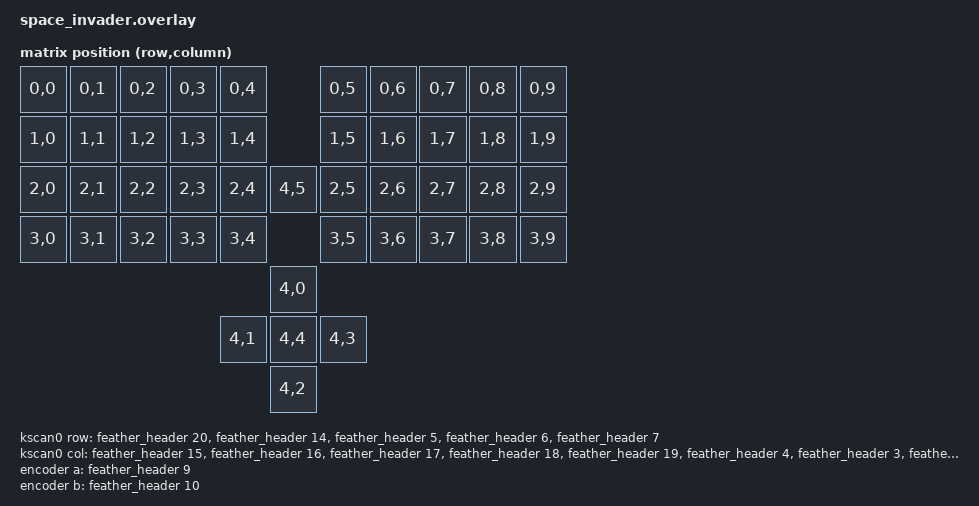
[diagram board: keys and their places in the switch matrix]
/*
 * Copyright (c) 2021 Tom Butcher
 *
 * SPDX-License-Identifier: MIT
 */

#include <dt-bindings/zmk/matrix_transform.h>

/ {
	chosen {
		zmk,kscan = &kscan0;
		zmk,matrix_transform = &default_transform;
		zephyr,display = &oled;
	};

	kscan0: kscan_0 {
		compatible = "zmk,kscan-gpio-matrix";
		label = "KSCAN";
		diode-direction = "col2row";

		col-gpios
			= <&feather_header 15 GPIO_ACTIVE_HIGH>
			, <&feather_header 16 GPIO_ACTIVE_HIGH>
			, <&feather_header 17 GPIO_ACTIVE_HIGH>
			, <&feather_header 18 GPIO_ACTIVE_HIGH>
			, <&feather_header 19 GPIO_ACTIVE_HIGH>
			, <&feather_header 4 GPIO_ACTIVE_HIGH>
			, <&feather_header 3 GPIO_ACTIVE_HIGH>
			, <&feather_header 2 GPIO_ACTIVE_HIGH>
			, <&feather_header 1 GPIO_ACTIVE_HIGH>
			, <&feather_header 0 GPIO_ACTIVE_HIGH>
			;

		row-gpios
			= <&feather_header 20 (GPIO_ACTIVE_HIGH | GPIO_PULL_DOWN)>
			, <&feather_header 14 (GPIO_ACTIVE_HIGH | GPIO_PULL_DOWN)>
			, <&feather_header 5 (GPIO_ACTIVE_HIGH | GPIO_PULL_DOWN)>
			, <&feather_header 6 (GPIO_ACTIVE_HIGH | GPIO_PULL_DOWN)>
            , <&feather_header 7 (GPIO_ACTIVE_HIGH | GPIO_PULL_DOWN)>
			;
	};

    	default_transform: keymap_transform_0 {
		compatible = "zmk,matrix-transform";
		columns = <10>;
		rows = <5>;
// | MX1  | MX2  | MX3  | MX4  | MX5  |				                       MX6  | MX7  | MX8  | MX9  | MX10 |
// | MX11 | MX12 | MX13 | MX14 | MX15 |				                       MX16 | MX17 | MX18 | MX19 | MX20 |
// | MX21 | MX22 | MX23 | MX24 | MX25 |               Rot1 |               MX26 | MX27 | MX28 | MX29 | MX30 |
// | MX31 |        MX32 | MX33 | MX34 | MX35 |      	            MX36 | MX37 | MX38 | MX39 |	  	   MX40 |
//                                    | JSLt | JSUp | JSIn | JSDn | JSRt |

        map = <

		// ╭─────────┬─────────┬─────────┬─────────┬─────────╮ 					╭─────────┬─────────┬─────────┬─────────┬─────────╮
             RC(0,0)   RC(0,1)   RC(0,2)   RC(0,3)   RC(0,4) 			          RC(0,5)   RC(0,6)   RC(0,7)   RC(0,8)   RC(0,9)
        // ├─────────┼─────────┼─────────┼─────────┼─────────┤ 					├─────────┼─────────┼─────────┼─────────┼─────────┤
             RC(1,0)   RC(1,1)   RC(1,2)   RC(1,3)   RC(1,4) 			          RC(1,5)   RC(1,6)   RC(1,7)   RC(1,8)   RC(1,9)
        // ├─────────┼─────────┼─────────┼─────────┼─────────┤	  ╭────────╮    ├─────────┼─────────┼─────────┼─────────┼─────────┤
             RC(2,0)   RC(2,1)   RC(2,2)   RC(2,3)   RC(2,4)	    RC(4,5)       RC(2,5)   RC(2,6)   RC(2,7)   RC(2,8)   RC(2,9) 
        // ├─────────┴──┬──────┼─────────┼─────────┼─────────┬────╰───╮╭───╯────┬─────────┼─────────┼─────────┴──────┬──┴─────────┤
             RC(3,0)             RC(3,1)   RC(3,2)   RC(3,3)   RC(3,4)   RC(3,5)  RC(3,6)   RC(3,7)   RC(3,8)             RC(3,9) 
        // ╰────────────╯      ╰─────────┴─────────┴─────────┴────────╯╰────────┴─────────┴─────────┴─────────╯		 ╰────────────╯
		//													      ╭────────╮
		  															RC(4,0)
		//									   		     ╭────────┼────────┼────────╮
		  											   	   RC(4,1)  RC(4,4)	 RC(4,3)
		//									   		     ╰────────┼────────┼────────╯
		  															RC(4,2)
		//													      ╰────────╯                                  
        >;
	};

	encoder: encoder {
		compatible = "alps,ec11";
		label = "ENCODER";
		a-gpios = <&feather_header 9 (GPIO_ACTIVE_HIGH | GPIO_PULL_UP)>;
		b-gpios = <&feather_header 10 (GPIO_ACTIVE_HIGH | GPIO_PULL_UP)>;
		steps = <30>;
	};

// OLED Pins are 12 (SDA) and 13 (SCL)

	sensors {
		compatible = "zmk,keymap-sensors";
		sensors = <&encoder>;
		triggers-per-rotation = <15>;
	};
};

// // Uncomment to enable OLED display

&feather_i2c {
	status = "okay";
	sda-pin = <12>;
	scl-pin = <11>;
	zephyr,concat-buf-size = <1024>;

	oled: ssd1306@3c {
		compatible = "solomon,ssd1306fb";
		reg = <0x3c>;
		label = "DISPLAY";
		width = <128>;
		height = <32>;
		segment-offset = <0>;
		page-offset = <0>;
		display-offset = <0>;
		multiplex-ratio = <31>;
		com-invdir;
		segment-remap;
		com-sequential;
		prechargep = <0x22>;
	};
};
